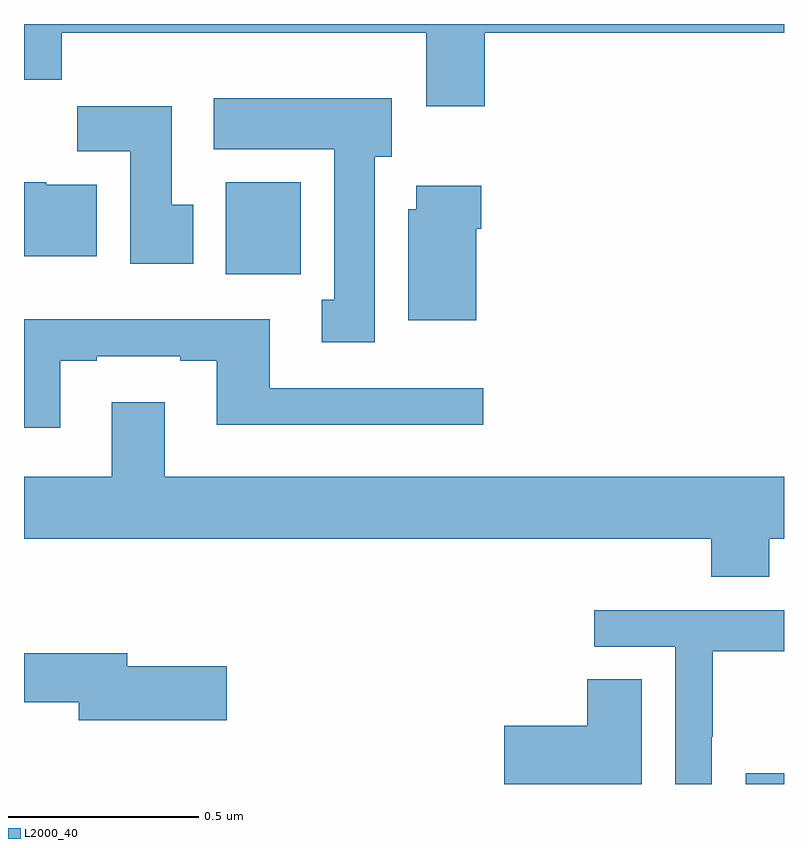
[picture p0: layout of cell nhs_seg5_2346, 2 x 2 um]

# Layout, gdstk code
import gdstk
lib = gdstk.Library(unit=1e-6, precision=1e-09)
def R(c, l, rs):  # rectangles x0, y0, x1, y1
    for r in rs: c.add(gdstk.rectangle(r[:2], r[2:], *l))
def P(c, l, *ps):  # polygons
    for p in ps: c.add(gdstk.Polygon(p, *l))
L2000_40 = (2000, 40)

nhs_seg5_2346 = lib.new_cell('nhs_seg5_2346')
R(nhs_seg5_2346, L2000_40, [(144.899,838.799,145,838.827), (143.531,840.14,143.728,840.382)])
P(nhs_seg5_2346, L2000_40, [(144.212,840.776),(145,840.776),(145,840.799),(143,840.799),(143,840.652),(143.099,840.652),(143.099,840.776),(144.059,840.776),(144.059,840.582),(144.212,840.582)],
  [(143.923,840.45),(143.968,840.45),(143.968,840.604),(143.499,840.604),(143.499,840.47),(143.816,840.47),(143.816,840.074),(143.783,840.074),(143.783,839.961),(143.923,839.961)],
  [(143.446,840.324),(143.389,840.324),(143.389,840.583),(143.14,840.583),(143.14,840.464),(143.279,840.464),(143.279,840.168),(143.446,840.168)],
  [(143.191,840.376),(143.058,840.376),(143.058,840.382),(143,840.382),(143,840.188),(143.191,840.188)],
  [(144.19,840.26),(144.203,840.26),(144.203,840.373),(144.032,840.373),(144.032,840.312),(144.011,840.312),(144.011,840.02),(144.19,840.02)],
  [(143.095,839.913),(143.191,839.913),(143.191,839.925),(143.411,839.925),(143.411,839.913),(143.507,839.913),(143.507,839.744),(144.208,839.744),(144.208,839.841),(143.647,839.841),(143.647,840.022),(143,840.022),(143,839.736),(143.095,839.736)],
  [(144.961,839.444),(145,839.444),(145,839.608),(143.371,839.608),(143.371,839.803),(143.231,839.803),(143.231,839.608),(143,839.608),(143,839.444),(144.809,839.444),(144.809,839.345),(144.961,839.345)],
  [(144.81,838.924),(144.813,838.924),(144.813,839.148),(145,839.148),(145,839.256),(144.501,839.256),(144.501,839.16),(144.714,839.16),(144.714,838.799),(144.81,838.799)],
  [(143.533,839.109),(143.272,839.109),(143.272,839.143),(143,839.143),(143,839.014),(143.144,839.014),(143.144,838.967),(143.533,838.967)],
  [(144.625,839.075),(144.482,839.075),(144.482,838.952),(144.264,838.952),(144.264,838.799),(144.625,838.799)])

lib.write_gds('nhs_seg5_2346.gds')
